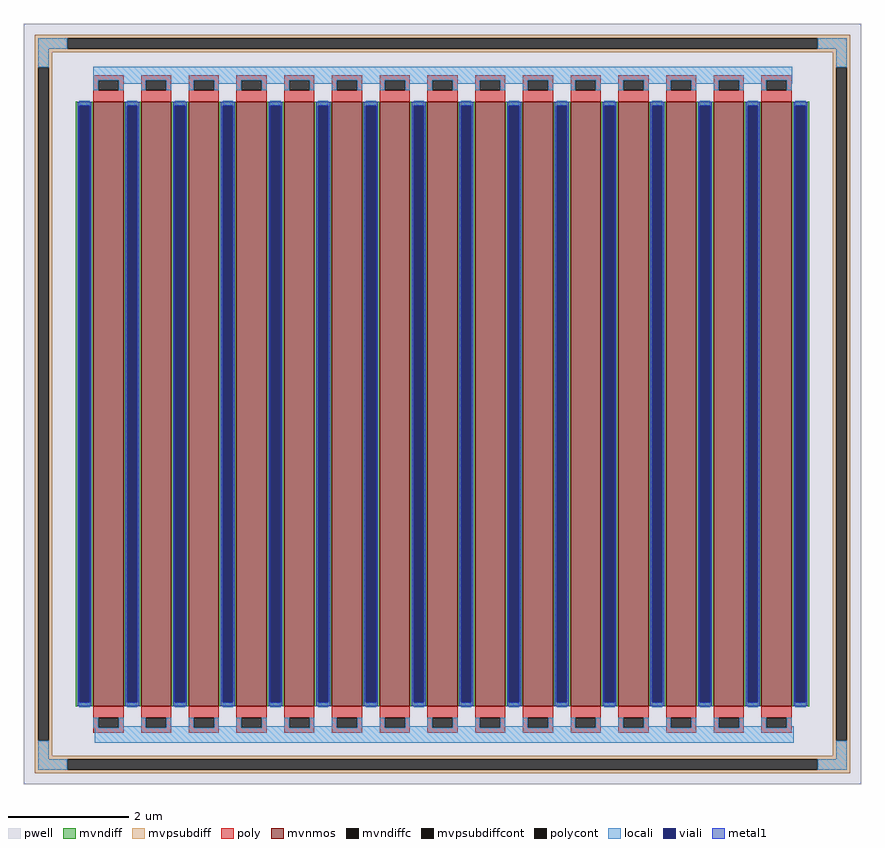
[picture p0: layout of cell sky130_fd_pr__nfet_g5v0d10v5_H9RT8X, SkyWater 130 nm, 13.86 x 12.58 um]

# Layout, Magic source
magic
tech sky130A
magscale 1 2
<< pwell >>
rect -1386 -1258 1386 1258
<< mvnmos >>
rect -1156 -1000 -1056 1000
rect -998 -1000 -898 1000
rect -840 -1000 -740 1000
rect -682 -1000 -582 1000
rect -524 -1000 -424 1000
rect -366 -1000 -266 1000
rect -208 -1000 -108 1000
rect -50 -1000 50 1000
rect 108 -1000 208 1000
rect 266 -1000 366 1000
rect 424 -1000 524 1000
rect 582 -1000 682 1000
rect 740 -1000 840 1000
rect 898 -1000 998 1000
rect 1056 -1000 1156 1000
<< mvndiff >>
rect -1214 988 -1156 1000
rect -1214 -988 -1202 988
rect -1168 -988 -1156 988
rect -1214 -1000 -1156 -988
rect -1056 988 -998 1000
rect -1056 -988 -1044 988
rect -1010 -988 -998 988
rect -1056 -1000 -998 -988
rect -898 988 -840 1000
rect -898 -988 -886 988
rect -852 -988 -840 988
rect -898 -1000 -840 -988
rect -740 988 -682 1000
rect -740 -988 -728 988
rect -694 -988 -682 988
rect -740 -1000 -682 -988
rect -582 988 -524 1000
rect -582 -988 -570 988
rect -536 -988 -524 988
rect -582 -1000 -524 -988
rect -424 988 -366 1000
rect -424 -988 -412 988
rect -378 -988 -366 988
rect -424 -1000 -366 -988
rect -266 988 -208 1000
rect -266 -988 -254 988
rect -220 -988 -208 988
rect -266 -1000 -208 -988
rect -108 988 -50 1000
rect -108 -988 -96 988
rect -62 -988 -50 988
rect -108 -1000 -50 -988
rect 50 988 108 1000
rect 50 -988 62 988
rect 96 -988 108 988
rect 50 -1000 108 -988
rect 208 988 266 1000
rect 208 -988 220 988
rect 254 -988 266 988
rect 208 -1000 266 -988
rect 366 988 424 1000
rect 366 -988 378 988
rect 412 -988 424 988
rect 366 -1000 424 -988
rect 524 988 582 1000
rect 524 -988 536 988
rect 570 -988 582 988
rect 524 -1000 582 -988
rect 682 988 740 1000
rect 682 -988 694 988
rect 728 -988 740 988
rect 682 -1000 740 -988
rect 840 988 898 1000
rect 840 -988 852 988
rect 886 -988 898 988
rect 840 -1000 898 -988
rect 998 988 1056 1000
rect 998 -988 1010 988
rect 1044 -988 1056 988
rect 998 -1000 1056 -988
rect 1156 988 1214 1000
rect 1156 -988 1168 988
rect 1202 -988 1214 988
rect 1156 -1000 1214 -988
<< mvndiffc >>
rect -1202 -988 -1168 988
rect -1044 -988 -1010 988
rect -886 -988 -852 988
rect -728 -988 -694 988
rect -570 -988 -536 988
rect -412 -988 -378 988
rect -254 -988 -220 988
rect -96 -988 -62 988
rect 62 -988 96 988
rect 220 -988 254 988
rect 378 -988 412 988
rect 536 -988 570 988
rect 694 -988 728 988
rect 852 -988 886 988
rect 1010 -988 1044 988
rect 1168 -988 1202 988
<< mvpsubdiff >>
rect -1350 1210 1350 1222
rect -1350 1176 -1242 1210
rect 1242 1176 1350 1210
rect -1350 1164 1350 1176
rect -1350 1114 -1292 1164
rect -1350 -1114 -1338 1114
rect -1304 -1114 -1292 1114
rect 1292 1114 1350 1164
rect -1350 -1164 -1292 -1114
rect 1292 -1114 1304 1114
rect 1338 -1114 1350 1114
rect 1292 -1164 1350 -1114
rect -1350 -1176 1350 -1164
rect -1350 -1210 -1242 -1176
rect 1242 -1210 1350 -1176
rect -1350 -1222 1350 -1210
<< mvpsubdiffcont >>
rect -1242 1176 1242 1210
rect -1338 -1114 -1304 1114
rect 1304 -1114 1338 1114
rect -1242 -1210 1242 -1176
<< poly >>
rect -1156 1072 -1056 1088
rect -1156 1038 -1140 1072
rect -1072 1038 -1056 1072
rect -1156 1000 -1056 1038
rect -998 1072 -898 1088
rect -998 1038 -982 1072
rect -914 1038 -898 1072
rect -998 1000 -898 1038
rect -840 1072 -740 1088
rect -840 1038 -824 1072
rect -756 1038 -740 1072
rect -840 1000 -740 1038
rect -682 1072 -582 1088
rect -682 1038 -666 1072
rect -598 1038 -582 1072
rect -682 1000 -582 1038
rect -524 1072 -424 1088
rect -524 1038 -508 1072
rect -440 1038 -424 1072
rect -524 1000 -424 1038
rect -366 1072 -266 1088
rect -366 1038 -350 1072
rect -282 1038 -266 1072
rect -366 1000 -266 1038
rect -208 1072 -108 1088
rect -208 1038 -192 1072
rect -124 1038 -108 1072
rect -208 1000 -108 1038
rect -50 1072 50 1088
rect -50 1038 -34 1072
rect 34 1038 50 1072
rect -50 1000 50 1038
rect 108 1072 208 1088
rect 108 1038 124 1072
rect 192 1038 208 1072
rect 108 1000 208 1038
rect 266 1072 366 1088
rect 266 1038 282 1072
rect 350 1038 366 1072
rect 266 1000 366 1038
rect 424 1072 524 1088
rect 424 1038 440 1072
rect 508 1038 524 1072
rect 424 1000 524 1038
rect 582 1072 682 1088
rect 582 1038 598 1072
rect 666 1038 682 1072
rect 582 1000 682 1038
rect 740 1072 840 1088
rect 740 1038 756 1072
rect 824 1038 840 1072
rect 740 1000 840 1038
rect 898 1072 998 1088
rect 898 1038 914 1072
rect 982 1038 998 1072
rect 898 1000 998 1038
rect 1056 1072 1156 1088
rect 1056 1038 1072 1072
rect 1140 1038 1156 1072
rect 1056 1000 1156 1038
rect -1156 -1038 -1056 -1000
rect -1156 -1072 -1140 -1038
rect -1072 -1072 -1056 -1038
rect -1156 -1088 -1056 -1072
rect -998 -1038 -898 -1000
rect -998 -1072 -982 -1038
rect -914 -1072 -898 -1038
rect -998 -1088 -898 -1072
rect -840 -1038 -740 -1000
rect -840 -1072 -824 -1038
rect -756 -1072 -740 -1038
rect -840 -1088 -740 -1072
rect -682 -1038 -582 -1000
rect -682 -1072 -666 -1038
rect -598 -1072 -582 -1038
rect -682 -1088 -582 -1072
rect -524 -1038 -424 -1000
rect -524 -1072 -508 -1038
rect -440 -1072 -424 -1038
rect -524 -1088 -424 -1072
rect -366 -1038 -266 -1000
rect -366 -1072 -350 -1038
rect -282 -1072 -266 -1038
rect -366 -1088 -266 -1072
rect -208 -1038 -108 -1000
rect -208 -1072 -192 -1038
rect -124 -1072 -108 -1038
rect -208 -1088 -108 -1072
rect -50 -1038 50 -1000
rect -50 -1072 -34 -1038
rect 34 -1072 50 -1038
rect -50 -1088 50 -1072
rect 108 -1038 208 -1000
rect 108 -1072 124 -1038
rect 192 -1072 208 -1038
rect 108 -1088 208 -1072
rect 266 -1038 366 -1000
rect 266 -1072 282 -1038
rect 350 -1072 366 -1038
rect 266 -1088 366 -1072
rect 424 -1038 524 -1000
rect 424 -1072 440 -1038
rect 508 -1072 524 -1038
rect 424 -1088 524 -1072
rect 582 -1038 682 -1000
rect 582 -1072 598 -1038
rect 666 -1072 682 -1038
rect 582 -1088 682 -1072
rect 740 -1038 840 -1000
rect 740 -1072 756 -1038
rect 824 -1072 840 -1038
rect 740 -1088 840 -1072
rect 898 -1038 998 -1000
rect 898 -1072 914 -1038
rect 982 -1072 998 -1038
rect 898 -1088 998 -1072
rect 1056 -1038 1156 -1000
rect 1056 -1072 1072 -1038
rect 1140 -1072 1156 -1038
rect 1056 -1088 1156 -1072
<< polycont >>
rect -1140 1038 -1072 1072
rect -982 1038 -914 1072
rect -824 1038 -756 1072
rect -666 1038 -598 1072
rect -508 1038 -440 1072
rect -350 1038 -282 1072
rect -192 1038 -124 1072
rect -34 1038 34 1072
rect 124 1038 192 1072
rect 282 1038 350 1072
rect 440 1038 508 1072
rect 598 1038 666 1072
rect 756 1038 824 1072
rect 914 1038 982 1072
rect 1072 1038 1140 1072
rect -1140 -1072 -1072 -1038
rect -982 -1072 -914 -1038
rect -824 -1072 -756 -1038
rect -666 -1072 -598 -1038
rect -508 -1072 -440 -1038
rect -350 -1072 -282 -1038
rect -192 -1072 -124 -1038
rect -34 -1072 34 -1038
rect 124 -1072 192 -1038
rect 282 -1072 350 -1038
rect 440 -1072 508 -1038
rect 598 -1072 666 -1038
rect 756 -1072 824 -1038
rect 914 -1072 982 -1038
rect 1072 -1072 1140 -1038
<< locali >>
rect -1338 1176 -1242 1210
rect 1242 1176 1338 1210
rect -1338 1114 -1304 1176
rect -1156 1072 1158 1116
rect -1156 1038 -1140 1072
rect -1072 1060 -982 1072
rect -1072 1038 -1056 1060
rect -998 1038 -982 1060
rect -914 1060 -824 1072
rect -914 1038 -898 1060
rect -840 1038 -824 1060
rect -756 1060 -666 1072
rect -756 1038 -740 1060
rect -682 1038 -666 1060
rect -598 1060 -508 1072
rect -598 1038 -582 1060
rect -524 1038 -508 1060
rect -440 1060 -350 1072
rect -440 1038 -424 1060
rect -366 1038 -350 1060
rect -282 1060 -192 1072
rect -282 1038 -266 1060
rect -208 1038 -192 1060
rect -124 1060 -34 1072
rect -124 1038 -108 1060
rect -50 1038 -34 1060
rect 34 1060 124 1072
rect 34 1038 50 1060
rect 108 1038 124 1060
rect 192 1060 282 1072
rect 192 1038 208 1060
rect 266 1038 282 1060
rect 350 1060 440 1072
rect 350 1038 366 1060
rect 424 1038 440 1060
rect 508 1060 598 1072
rect 508 1038 524 1060
rect 582 1038 598 1060
rect 666 1060 756 1072
rect 666 1038 682 1060
rect 740 1038 756 1060
rect 824 1060 914 1072
rect 824 1038 840 1060
rect 898 1038 914 1060
rect 982 1060 1072 1072
rect 982 1038 998 1060
rect 1056 1038 1072 1060
rect 1140 1060 1158 1072
rect 1304 1114 1338 1176
rect 1140 1038 1156 1060
rect -1202 988 -1168 1004
rect -1202 -1004 -1168 -988
rect -1044 988 -1010 1004
rect -1044 -1004 -1010 -988
rect -886 988 -852 1004
rect -886 -1004 -852 -988
rect -728 988 -694 1004
rect -728 -1004 -694 -988
rect -570 988 -536 1004
rect -570 -1004 -536 -988
rect -412 988 -378 1004
rect -412 -1004 -378 -988
rect -254 988 -220 1004
rect -254 -1004 -220 -988
rect -96 988 -62 1004
rect -96 -1004 -62 -988
rect 62 988 96 1004
rect 62 -1004 96 -988
rect 220 988 254 1004
rect 220 -1004 254 -988
rect 378 988 412 1004
rect 378 -1004 412 -988
rect 536 988 570 1004
rect 536 -1004 570 -988
rect 694 988 728 1004
rect 694 -1004 728 -988
rect 852 988 886 1004
rect 852 -1004 886 -988
rect 1010 988 1044 1004
rect 1010 -1004 1044 -988
rect 1168 988 1202 1004
rect 1168 -1004 1202 -988
rect -1156 -1072 -1140 -1038
rect -1072 -1066 -1056 -1038
rect -998 -1066 -982 -1038
rect -1072 -1072 -982 -1066
rect -914 -1066 -898 -1038
rect -840 -1066 -824 -1038
rect -914 -1072 -824 -1066
rect -756 -1066 -740 -1038
rect -682 -1066 -666 -1038
rect -756 -1072 -666 -1066
rect -598 -1066 -582 -1038
rect -524 -1066 -508 -1038
rect -598 -1072 -508 -1066
rect -440 -1066 -424 -1038
rect -366 -1066 -350 -1038
rect -440 -1072 -350 -1066
rect -282 -1066 -266 -1038
rect -208 -1066 -192 -1038
rect -282 -1072 -192 -1066
rect -124 -1066 -108 -1038
rect -50 -1066 -34 -1038
rect -124 -1072 -34 -1066
rect 34 -1066 50 -1038
rect 108 -1066 124 -1038
rect 34 -1072 124 -1066
rect 192 -1066 208 -1038
rect 266 -1066 282 -1038
rect 192 -1072 282 -1066
rect 350 -1066 366 -1038
rect 424 -1066 440 -1038
rect 350 -1072 440 -1066
rect 508 -1066 524 -1038
rect 582 -1066 598 -1038
rect 508 -1072 598 -1066
rect 666 -1066 682 -1038
rect 740 -1066 756 -1038
rect 666 -1072 756 -1066
rect 824 -1066 840 -1038
rect 898 -1066 914 -1038
rect 824 -1072 914 -1066
rect 982 -1066 998 -1038
rect 1056 -1066 1072 -1038
rect 982 -1072 1072 -1066
rect 1140 -1066 1156 -1038
rect 1140 -1072 1162 -1066
rect -1338 -1176 -1304 -1114
rect -1152 -1122 1162 -1072
rect 1304 -1176 1338 -1114
rect -1338 -1210 -1242 -1176
rect 1242 -1210 1338 -1176
<< viali >>
rect -1202 -988 -1168 988
rect -1044 -988 -1010 988
rect -886 -988 -852 988
rect -728 -988 -694 988
rect -570 -988 -536 988
rect -412 -988 -378 988
rect -254 -988 -220 988
rect -96 -988 -62 988
rect 62 -988 96 988
rect 220 -988 254 988
rect 378 -988 412 988
rect 536 -988 570 988
rect 694 -988 728 988
rect 852 -988 886 988
rect 1010 -988 1044 988
rect 1168 -988 1202 988
<< metal1 >>
rect -1208 988 -1162 1000
rect -1208 -988 -1202 988
rect -1168 -988 -1162 988
rect -1208 -1000 -1162 -988
rect -1050 988 -1004 1000
rect -1050 -988 -1044 988
rect -1010 -988 -1004 988
rect -1050 -1000 -1004 -988
rect -892 988 -846 1000
rect -892 -988 -886 988
rect -852 -988 -846 988
rect -892 -1000 -846 -988
rect -734 988 -688 1000
rect -734 -988 -728 988
rect -694 -988 -688 988
rect -734 -1000 -688 -988
rect -576 988 -530 1000
rect -576 -988 -570 988
rect -536 -988 -530 988
rect -576 -1000 -530 -988
rect -418 988 -372 1000
rect -418 -988 -412 988
rect -378 -988 -372 988
rect -418 -1000 -372 -988
rect -260 988 -214 1000
rect -260 -988 -254 988
rect -220 -988 -214 988
rect -260 -1000 -214 -988
rect -102 988 -56 1000
rect -102 -988 -96 988
rect -62 -988 -56 988
rect -102 -1000 -56 -988
rect 56 988 102 1000
rect 56 -988 62 988
rect 96 -988 102 988
rect 56 -1000 102 -988
rect 214 988 260 1000
rect 214 -988 220 988
rect 254 -988 260 988
rect 214 -1000 260 -988
rect 372 988 418 1000
rect 372 -988 378 988
rect 412 -988 418 988
rect 372 -1000 418 -988
rect 530 988 576 1000
rect 530 -988 536 988
rect 570 -988 576 988
rect 530 -1000 576 -988
rect 688 988 734 1000
rect 688 -988 694 988
rect 728 -988 734 988
rect 688 -1000 734 -988
rect 846 988 892 1000
rect 846 -988 852 988
rect 886 -988 892 988
rect 846 -1000 892 -988
rect 1004 988 1050 1000
rect 1004 -988 1010 988
rect 1044 -988 1050 988
rect 1004 -1000 1050 -988
rect 1162 988 1208 1000
rect 1162 -988 1168 988
rect 1202 -988 1208 988
rect 1162 -1000 1208 -988
<< properties >>
string FIXED_BBOX -1321 -1193 1321 1193
string gencell sky130_fd_pr__nfet_g5v0d10v5
string library sky130
string parameters w 10 l 0.50 m 1 nf 15 diffcov 100 polycov 100 guard 1 glc 1 grc 1 gtc 1 gbc 1 tbcov 100 rlcov 100 topc 1 botc 1 poverlap 0 doverlap 1 lmin 0.50 wmin 0.42 class mosfet compatible {sky130_fd_pr__nfet_01v8 sky130_fd_pr__nfet_01v8_lvt  sky130_fd_bs_flash__special_sonosfet_star  sky130_fd_pr__nfet_g5v0d10v5 sky130_fd_pr__nfet_05v0_nvt  sky130_fd_pr__nfet_03v3_nvt} full_metal 1 conn_gates 0 viasrc 100 viadrn 100 viagate 100 viagb 0 viagr 0 viagl 0 viagt 0 doports 1
<< end >>
